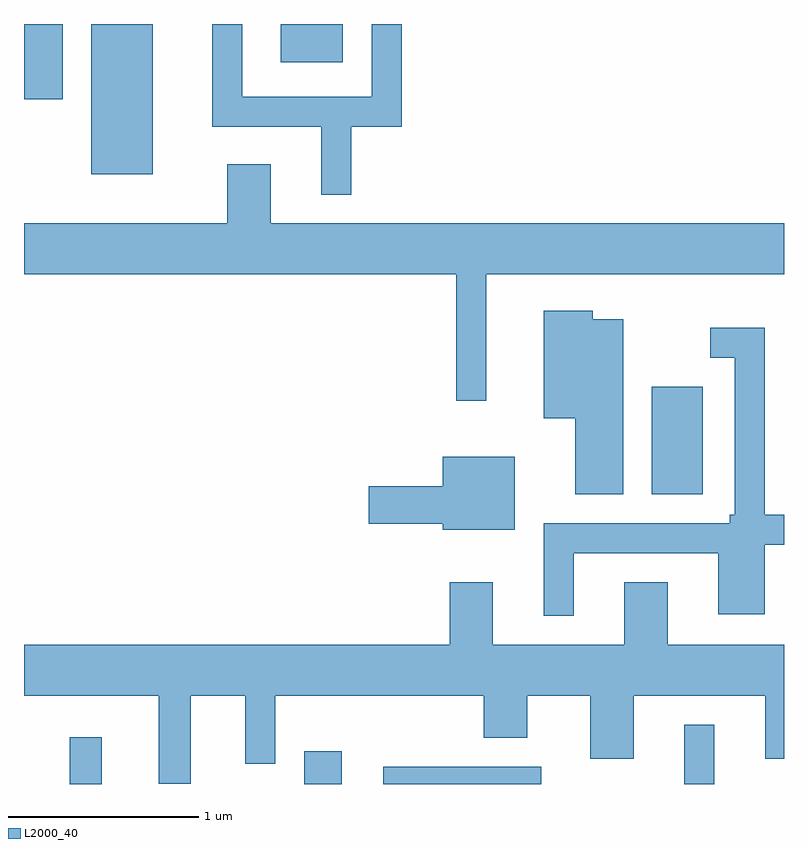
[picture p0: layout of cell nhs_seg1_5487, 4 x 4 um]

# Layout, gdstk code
import gdstk
lib = gdstk.Library(unit=1e-6, precision=1e-09)
def R(c, l, rs):  # rectangles x0, y0, x1, y1
    for r in rs: c.add(gdstk.rectangle(r[:2], r[2:], *l))
def P(c, l, *ps):  # polygons
    for p in ps: c.add(gdstk.Polygon(p, *l))
L2000_40 = (2000, 40)

nhs_seg1_5487 = lib.new_cell('nhs_seg1_5487')
R(nhs_seg1_5487, L2000_40, [(349.851,965.712,350.019,965.958), (351.086,965.712,351.284,965.884), (351.503,965.712,352.334,965.804), (353.086,965.712,353.244,966.023), (352.916,967.236,353.184,967.804), (349.966,968.921,350.289,969.712), (349.611,969.316,349.814,969.712), (350.961,969.511,351.289,969.712)])
P(nhs_seg1_5487, L2000_40, [(351.334,969.171),(351.599,969.171),(351.599,969.712),(351.441,969.712),(351.441,969.329),(350.759,969.329),(350.759,969.712),(350.601,969.712),(350.601,969.171),(351.176,969.171),(351.176,968.813),(351.334,968.813)],
  [(352.044,968.396),(353.611,968.396),(353.611,968.664),(350.909,968.664),(350.909,968.974),(350.681,968.974),(350.681,968.664),(349.611,968.664),(349.611,968.396),(351.886,968.396),(351.886,967.728),(352.044,967.728)],
  [(352.764,968.159),(352.604,968.159),(352.604,968.204),(352.346,968.204),(352.346,967.636),(352.511,967.636),(352.511,967.236),(352.764,967.236)],
  [(352.504,966.926),(353.266,966.926),(353.266,966.606),(353.509,966.606),(353.509,966.971),(353.611,966.971),(353.611,967.129),(353.509,967.129),(353.509,968.114),(353.223,968.114),(353.223,967.956),(353.351,967.956),(353.351,967.129),(353.326,967.129),(353.326,967.084),(352.346,967.084),(352.346,966.598),(352.504,966.598)],
  [(352.194,967.434),(351.816,967.434),(351.816,967.279),(351.426,967.279),(351.426,967.081),(351.816,967.081),(351.816,967.051),(352.194,967.051)],
  [(350.489,966.176),(350.776,966.176),(350.776,965.818),(350.934,965.818),(350.934,966.176),(352.031,966.176),(352.031,965.956),(352.259,965.956),(352.259,966.176),(352.591,966.176),(352.591,965.846),(352.819,965.846),(352.819,966.176),(353.511,966.176),(353.511,965.846),(353.611,965.846),(353.611,966.444),(352.999,966.444),(352.999,966.774),(352.771,966.774),(352.771,966.444),(352.079,966.444),(352.079,966.774),(351.851,966.774),(351.851,966.444),(349.611,966.444),(349.611,966.176),(350.321,966.176),(350.321,965.713),(350.489,965.713)])

lib.write_gds('nhs_seg1_5487.gds')
